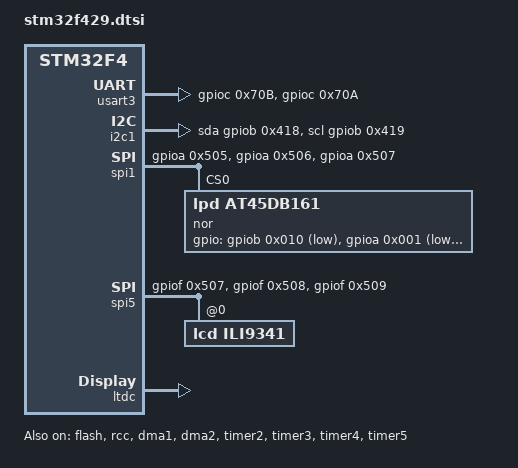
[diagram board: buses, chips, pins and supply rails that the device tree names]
/ {
    compatible = "st,stm32f4";

    #address-cells = <1>;
    #size-cells = <1>;

	clocks
	{
		sources
		{
			hsi = <16000000>;
			hse = <8000000>;
			lsi = <32000>;
		};

		fast
		{
			source = <2>;				// pll is source
			pll = <1 16 336 2 7>;		// hsi, m, n, p, q
			prescaler = <1 4 2>;		// ahb div1, apb1&apb2 div=2
		};
	};

	ahb1
	{
		#address-cells = <1>;
		#size-cells = <1>;

		gpioa: gpio@40020000 {
			reg = <0x40020000 0x400>;
                        status = "okay";
		};

		gpiob: gpio@40020400 {
			reg = <0x40020400 0x400>;
                        status = "okay";
		};

		gpioc: gpio@40020800 {
			reg = <0x40020800 0x400>;
                        status = "okay";
		};

		gpiod: gpio@40020C00 {
			reg = <0x40020C00 0x400>;
                        status = "okay";
		};

		gpioe: gpio@40021000 {
			reg = <0x40021000 0x400>;
                        status = "okay";
		};

		gpiof: gpio@40021400 {
			reg = <0x40021400 0x400>;
                        status = "okay";
		};

		flash {
			#address-cells = <1>;
			#size-cells = <0>;
			compatible = "st,stm32f4xx-flash";
			reg = <0x40023C00 0x400>;
			base = <0x08000000>;
                        status = "okay";
		};

		rcc: rcc@40023800 {
			#clock-cells = <2>;
			reg = <0x40023800 0x400>;
			compatible = "st,stm32f4xx-rcc";
                        status = "okay";
		};

		dma1: dma@40026000 {
			reg = <0x40026000 0x400>;
			compatible = "st,stm32f4xx-dma";
                        status = "okay";
		};

		dma2: dma@40026400 {
			reg = <0x40026400 0x400>;
			compatible = "st,stm32f4xx-dma";
                        status = "okay";
			st,mem2mem;
		};
	};

	ahb2
	{

	};

	apb1
	{
		#address-cells = <1>;
		#size-cells = <1>;

		usart3: usart3@40004800 {
			compatible = "st,stm32f4xx-usart";
			reg = <0x40004800 0x1C>;
			gpios = <&gpioc 0x70B 0>,     /* TX PA2 */
				<&gpioc 0x70A 0>;     /* RX PA3 */
			clock = <2>;
			baudrate = <115200>;
                        status = "okay";
		};

		i2c1: i2c1@40005400 {
			#address-cells = <1>;
			#size-cells = <0>;
			compatible = "st,stm32f4xx-i2c";
			reg = <0x40005400 0x24>;
			gpios = <&gpiob 0x418 0x0E>,    /* SCL PB8 */
					<&gpiob 0x419 0x0E>;    /* SDA PB9 */
		};


                timer2: timer@40000000 {
                        compatible = "st,stm32f4xx-timer";
                        reg = <0x40000000 0x400>;
                        interrupts = <28>;
                        status = "okay";
                };

                timer3: timer@40000400 {
                        compatible = "st,stm32f4xx-timer";
                        reg = <0x40000400 0x400>;
                        interrupts = <29>;
                        status = "okay";
                };

                timer4: timer@40000800 {
                        compatible = "st,stm32f4xx-timer";
                        reg = <0x40000800 0x400>;
                        interrupts = <30>;
                        status = "okay";
                };

                timer5: timer@40000c00 {
                        compatible = "st,stm32f4xx-timer";
                        reg = <0x40000C00 0x400>;
                        interrupts = <50>;
                        status = "okay";
                };
	};

	apb2
	{
		#address-cells = <1>;
		#size-cells = <1>;

		spi1: spi1@40013000 {
			#address-cells = <1>;
			#size-cells = <0>;
			compatible = "st,stm32f4xx-spi";
			reg = <0x40013000 0x20>;
                        interrupts = <35>;
			gpios =	<&gpioa 0x505 0x0A>,     /* SCK, PA5 */
					<&gpioa 0x506 0x08>,     /* MISO PA6 */
					<&gpioa 0x507 0x0A>;     /* MOSI PA7 */
			clock = <3>;
			dmas = <&dma2 3 2 0x10400 0x3>,
				<&dma2 3 3 0x10200 0x3>;
			dma-names = "rx", "tx";

			nor@0
			{
				compatible = "lpd,at45db161";
				reg = <0>;
				speed = <8000000>;
				gpios = <&gpiob 0x010 3>,  // cs, PB0, output 1
						<&gpioa 0x001 3>,  // reset, PA1, output 1
						<&gpioa 0x6000 0x300>;  // ready, PA0, input, no pull, it
			};
		};

		spi5: spi5@40015000 {
			#address-cells = <1>;
			#size-cells = <0>;
			compatible = "st,stm32f4xx-spi";
			reg = <0x40015000 0x20>;
                        interrupts = <35>;
			gpios =	<&gpiof 0x507 0x0A>,     /* SCK, PF7 */
					<&gpiof 0x508 0x08>,     /* MISO PF8 */
					<&gpiof 0x509 0x0A>;     /* MOSI PF9 */
			clock = <3>;
			dmas = <&dma2 7 5 0x10400 0x3>,
				<&dma2 7 6 0x10200 0x3>;
			dma-names = "rx", "tx";
                        status = "okay";

			ili9341@0
			{
				compatible = "lcd,ili9341";
				speed = <8000000>;
				status = "okay";
			};
		};

		syscfg: syscfg@40013800 {
			reg = <0x40013800 0x20>;
			if = <14>;
		};

		exti: exti@40013C00 {
			reg = <0x40013C00 0x20>;
		};

		ltdc: ltdc@40016800 {
			compatible = "st,stm32f4xx-ltdc";
			reg = <0x40016800 0x400>;
			pll_sai = <127 7 5>;
			sync = <16 2>;
			porch = <40 10 2 4>;
			resolution = <240 320>;
			bpp = <2>;
			status = "okay";
		};
	};

	conf
	{
		gpios =	<&gpioc 0x2D 0x20>,     /* IRQ PC13, input with pullup */
				<&gpiob 0x1C 0x20>,     /* NCS PB12 */
				<&gpioa 0x0C 0x20>;     /* DP PA12 */
	};
};
